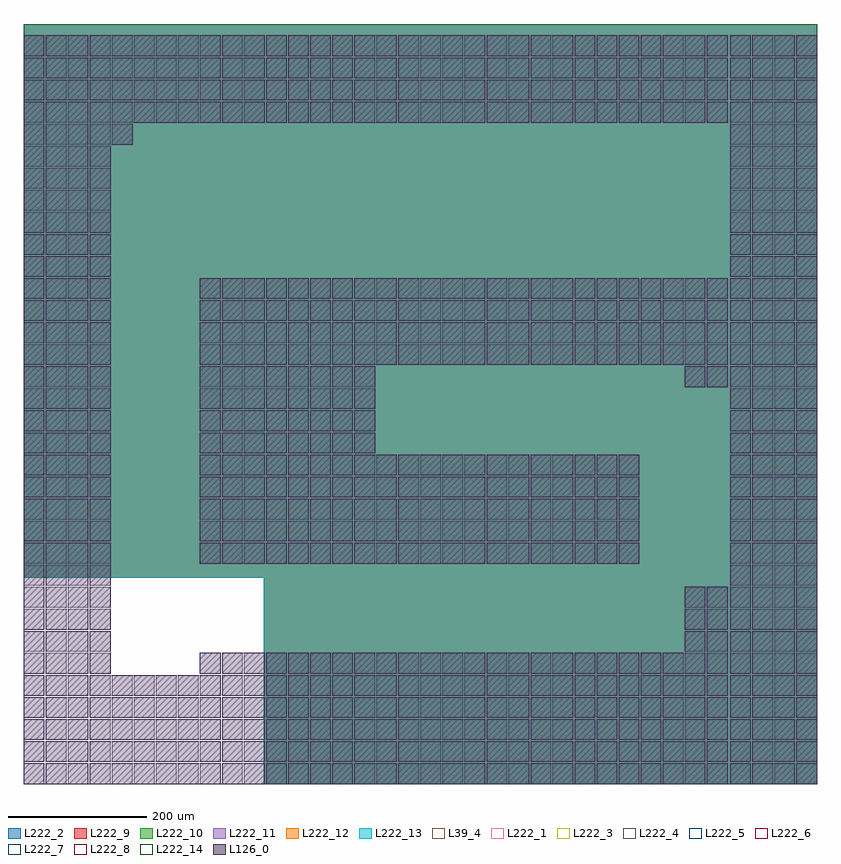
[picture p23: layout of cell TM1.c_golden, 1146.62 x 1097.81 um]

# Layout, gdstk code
import gdstk
lib = gdstk.Library(unit=1e-6, precision=1e-09)
def R(c, l, rs):  # rectangles x0, y0, x1, y1
    for r in rs: c.add(gdstk.rectangle(r[:2], r[2:], *l))
def A(c, l, x, y, w, h, nx, ny, dx, dy):  # array of equal rectangles
    R(c, l, [(x+i*dx, y+j*dy, x+i*dx+w, y+j*dy+h) for i in range(nx) for j in range(ny)])
L39_4 = (39, 4)
L126_0 = (126, 0)
L222_1 = (222, 1)
L222_2 = (222, 2)
L222_3 = (222, 3)
L222_4 = (222, 4)
L222_5 = (222, 5)
L222_6 = (222, 6)
L222_7 = (222, 7)
L222_8 = (222, 8)
L222_9 = (222, 9)
L222_10 = (222, 10)
L222_11 = (222, 11)
L222_12 = (222, 12)
L222_13 = (222, 13)
L222_14 = (222, 14)

tm1_c_golden = lib.new_cell('TM1.c_golden')
R(tm1_c_golden, L39_4, [(0,0,1146.62,1097.81)])
A(tm1_c_golden, L126_0, 0, 445.69, 30, 30, 1, 4, 0, 32)
A(tm1_c_golden, L126_0, 32, 445.69, 30, 30, 1, 4, 0, 32)
A(tm1_c_golden, L126_0, 63.66, 445.69, 30, 30, 1, 4, 0, 32)
A(tm1_c_golden, L126_0, 95.66, 445.69, 30, 30, 1, 4, 0, 32)
A(tm1_c_golden, L126_0, 254.64, 445.69, 30, 30, 1, 4, 0, 32)
A(tm1_c_golden, L126_0, 286.64, 445.69, 30, 30, 1, 4, 0, 32)
A(tm1_c_golden, L126_0, 318.3, 445.69, 30, 30, 1, 4, 0, 32)
A(tm1_c_golden, L126_0, 350.3, 445.69, 30, 30, 1, 4, 0, 32)
A(tm1_c_golden, L126_0, 381.97, 445.69, 30, 30, 1, 4, 0, 32)
A(tm1_c_golden, L126_0, 413.97, 445.69, 30, 30, 1, 4, 0, 32)
A(tm1_c_golden, L126_0, 445.63, 445.69, 30, 30, 1, 4, 0, 32)
A(tm1_c_golden, L126_0, 477.63, 445.69, 30, 30, 1, 4, 0, 32)
A(tm1_c_golden, L126_0, 1020.59, 445.69, 30, 30, 1, 4, 0, 32)
A(tm1_c_golden, L126_0, 1052.59, 445.69, 30, 30, 1, 4, 0, 32)
A(tm1_c_golden, L126_0, 1084.26, 445.69, 30, 30, 1, 4, 0, 32)
A(tm1_c_golden, L126_0, 1116.26, 445.69, 30, 30, 1, 4, 0, 32)
A(tm1_c_golden, L126_0, 0, 955.38, 30, 30, 1, 4, 0, 32)
A(tm1_c_golden, L126_0, 32, 955.38, 30, 30, 1, 4, 0, 32)
A(tm1_c_golden, L126_0, 63.66, 955.38, 30, 30, 1, 4, 0, 32)
A(tm1_c_golden, L126_0, 95.66, 955.38, 30, 30, 1, 4, 0, 32)
A(tm1_c_golden, L126_0, 127.33, 955.38, 30, 30, 1, 4, 0, 32)
A(tm1_c_golden, L126_0, 159.33, 955.38, 30, 30, 1, 4, 0, 32)
A(tm1_c_golden, L126_0, 190.99, 955.38, 30, 30, 1, 4, 0, 32)
A(tm1_c_golden, L126_0, 222.99, 955.38, 30, 30, 1, 4, 0, 32)
A(tm1_c_golden, L126_0, 254.64, 955.38, 30, 30, 1, 4, 0, 32)
A(tm1_c_golden, L126_0, 286.64, 955.38, 30, 30, 1, 4, 0, 32)
A(tm1_c_golden, L126_0, 318.3, 955.38, 30, 30, 1, 4, 0, 32)
A(tm1_c_golden, L126_0, 350.3, 955.38, 30, 30, 1, 4, 0, 32)
A(tm1_c_golden, L126_0, 381.97, 955.38, 30, 30, 1, 4, 0, 32)
A(tm1_c_golden, L126_0, 413.97, 955.38, 30, 30, 1, 4, 0, 32)
A(tm1_c_golden, L126_0, 445.63, 955.38, 30, 30, 1, 4, 0, 32)
A(tm1_c_golden, L126_0, 477.63, 955.38, 30, 30, 1, 4, 0, 32)
A(tm1_c_golden, L126_0, 509.34, 955.38, 30, 30, 1, 4, 0, 32)
A(tm1_c_golden, L126_0, 541.34, 955.38, 30, 30, 1, 4, 0, 32)
A(tm1_c_golden, L126_0, 573, 955.38, 30, 30, 1, 4, 0, 32)
A(tm1_c_golden, L126_0, 605, 955.38, 30, 30, 1, 4, 0, 32)
A(tm1_c_golden, L126_0, 636.67, 955.38, 30, 30, 1, 4, 0, 32)
A(tm1_c_golden, L126_0, 668.67, 955.38, 30, 30, 1, 4, 0, 32)
A(tm1_c_golden, L126_0, 700.33, 955.38, 30, 30, 1, 4, 0, 32)
A(tm1_c_golden, L126_0, 732.33, 955.38, 30, 30, 1, 4, 0, 32)
A(tm1_c_golden, L126_0, 763.98, 955.38, 30, 30, 1, 4, 0, 32)
A(tm1_c_golden, L126_0, 795.98, 955.38, 30, 30, 1, 4, 0, 32)
A(tm1_c_golden, L126_0, 827.64, 955.38, 30, 30, 1, 4, 0, 32)
A(tm1_c_golden, L126_0, 859.64, 955.38, 30, 30, 1, 4, 0, 32)
A(tm1_c_golden, L126_0, 891.31, 955.38, 30, 30, 1, 4, 0, 32)
A(tm1_c_golden, L126_0, 923.31, 955.38, 30, 30, 1, 4, 0, 32)
A(tm1_c_golden, L126_0, 954.97, 955.38, 30, 30, 1, 4, 0, 32)
A(tm1_c_golden, L126_0, 986.97, 955.38, 30, 30, 1, 4, 0, 32)
A(tm1_c_golden, L126_0, 1020.59, 955.38, 30, 30, 1, 4, 0, 32)
A(tm1_c_golden, L126_0, 1052.59, 955.38, 30, 30, 1, 4, 0, 32)
A(tm1_c_golden, L126_0, 1084.26, 955.38, 30, 30, 1, 4, 0, 32)
A(tm1_c_golden, L126_0, 1116.26, 955.38, 30, 30, 1, 4, 0, 32)
R(tm1_c_golden, L126_0, [(0,0,30,30), (32,0,62,30), (63.66,0,93.66,30), (95.66,0,125.66,30), (127.33,0,157.33,30), (159.33,0,189.33,30), (190.99,0,220.99,30), (222.99,0,252.99,30), (254.64,0,284.64,30), (286.64,0,316.64,30), (318.3,0,348.3,30), (350.3,0,380.3,30), (381.97,0,411.97,30), (413.97,0,443.97,30), (445.63,0,475.63,30), (477.63,0,507.63,30), (509.34,0,539.34,30), (541.34,0,571.34,30), (573,0,603,30), (605,0,635,30), (636.67,0,666.67,30), (668.67,0,698.67,30), (700.33,0,730.33,30), (732.33,0,762.33,30), (763.98,0,793.98,30), (795.98,0,825.98,30), (827.64,0,857.64,30), (859.64,0,889.64,30), (891.31,0,921.31,30), (923.31,0,953.31,30), (954.97,0,984.97,30), (986.97,0,1016.97,30), (1020.59,0,1050.59,30), (1052.59,0,1082.59,30), (1084.26,0,1114.26,30), (1116.26,0,1146.26,30), (0,32,30,62), (32,32,62,62), (63.66,32,93.66,62), (95.66,32,125.66,62), (127.33,32,157.33,62), (159.33,32,189.33,62), (190.99,32,220.99,62), (222.99,32,252.99,62), (254.64,32,284.64,62), (286.64,32,316.64,62), (318.3,32,348.3,62), (350.3,32,380.3,62), (381.97,32,411.97,62), (413.97,32,443.97,62), (445.63,32,475.63,62), (477.63,32,507.63,62), (509.34,32,539.34,62), (541.34,32,571.34,62), (573,32,603,62), (605,32,635,62), (636.67,32,666.67,62), (668.67,32,698.67,62), (700.33,32,730.33,62), (732.33,32,762.33,62), (763.98,32,793.98,62), (795.98,32,825.98,62), (827.64,32,857.64,62), (859.64,32,889.64,62), (891.31,32,921.31,62), (923.31,32,953.31,62), (954.97,32,984.97,62), (986.97,32,1016.97,62), (1020.59,32,1050.59,62), (1052.59,32,1082.59,62), (1084.26,32,1114.26,62), (1116.26,32,1146.26,62), (0,63.67,30,93.67), (32,63.67,62,93.67), (63.66,63.67,93.66,93.67), (95.66,63.67,125.66,93.67), (127.33,63.67,157.33,93.67), (159.33,63.67,189.33,93.67), (190.99,63.67,220.99,93.67), (222.99,63.67,252.99,93.67), (254.64,63.67,284.64,93.67), (286.64,63.67,316.64,93.67), (318.3,63.67,348.3,93.67), (350.3,63.67,380.3,93.67), (381.97,63.67,411.97,93.67), (413.97,63.67,443.97,93.67), (445.63,63.67,475.63,93.67), (477.63,63.67,507.63,93.67), (509.34,63.67,539.34,93.67), (541.34,63.67,571.34,93.67), (573,63.67,603,93.67), (605,63.67,635,93.67), (636.67,63.67,666.67,93.67), (668.67,63.67,698.67,93.67), (700.33,63.67,730.33,93.67), (732.33,63.67,762.33,93.67), (763.98,63.67,793.98,93.67), (795.98,63.67,825.98,93.67), (827.64,63.67,857.64,93.67), (859.64,63.67,889.64,93.67), (891.31,63.67,921.31,93.67), (923.31,63.67,953.31,93.67), (954.97,63.67,984.97,93.67), (986.97,63.67,1016.97,93.67), (1020.59,63.67,1050.59,93.67), (1052.59,63.67,1082.59,93.67), (1084.26,63.67,1114.26,93.67), (1116.26,63.67,1146.26,93.67), (0,95.67,30,125.67), (32,95.67,62,125.67), (63.66,95.67,93.66,125.67), (95.66,95.67,125.66,125.67), (127.33,95.67,157.33,125.67), (159.33,95.67,189.33,125.67), (190.99,95.67,220.99,125.67), (222.99,95.67,252.99,125.67), (254.64,95.67,284.64,125.67), (286.64,95.67,316.64,125.67), (318.3,95.67,348.3,125.67), (350.3,95.67,380.3,125.67), (381.97,95.67,411.97,125.67), (413.97,95.67,443.97,125.67), (445.63,95.67,475.63,125.67), (477.63,95.67,507.63,125.67), (509.34,95.67,539.34,125.67), (541.34,95.67,571.34,125.67), (573,95.67,603,125.67), (605,95.67,635,125.67), (636.67,95.67,666.67,125.67), (668.67,95.67,698.67,125.67), (700.33,95.67,730.33,125.67), (732.33,95.67,762.33,125.67), (763.98,95.67,793.98,125.67), (795.98,95.67,825.98,125.67), (827.64,95.67,857.64,125.67), (859.64,95.67,889.64,125.67), (891.31,95.67,921.31,125.67), (923.31,95.67,953.31,125.67), (954.97,95.67,984.97,125.67), (986.97,95.67,1016.97,125.67), (1020.59,95.67,1050.59,125.67), (1052.59,95.67,1082.59,125.67), (1084.26,95.67,1114.26,125.67), (1116.26,95.67,1146.26,125.67), (0,127.32,30,157.32), (32,127.32,62,157.32), (63.66,127.32,93.66,157.32), (95.66,127.32,125.66,157.32), (127.33,127.32,157.33,157.32), (159.33,127.32,189.33,157.32), (190.99,127.32,220.99,157.32), (222.99,127.32,252.99,157.32), (254.64,127.32,284.64,157.32), (286.64,127.32,316.64,157.32), (318.3,127.32,348.3,157.32), (350.3,127.32,380.3,157.32), (381.97,127.32,411.97,157.32), (413.97,127.32,443.97,157.32), (445.63,127.32,475.63,157.32), (477.63,127.32,507.63,157.32), (509.34,127.32,539.34,157.32), (541.34,127.32,571.34,157.32), (573,127.32,603,157.32), (605,127.32,635,157.32), (636.67,127.32,666.67,157.32), (668.67,127.32,698.67,157.32), (700.33,127.32,730.33,157.32), (732.33,127.32,762.33,157.32), (763.98,127.32,793.98,157.32), (795.98,127.32,825.98,157.32), (827.64,127.32,857.64,157.32), (859.64,127.32,889.64,157.32), (891.31,127.32,921.31,157.32), (923.31,127.32,953.31,157.32), (954.97,127.32,984.97,157.32), (986.97,127.32,1016.97,157.32), (1020.59,127.32,1050.59,157.32), (1052.59,127.32,1082.59,157.32), (1084.26,127.32,1114.26,157.32), (1116.26,127.32,1146.26,157.32), (0,159.32,30,189.32), (32,159.32,62,189.32), (63.66,159.32,93.66,189.32), (95.66,159.32,125.66,189.32), (254.64,159.32,284.64,189.32), (286.64,159.32,316.64,189.32), (318.3,159.32,348.3,189.32), (350.3,159.32,380.3,189.32), (381.97,159.32,411.97,189.32), (413.97,159.32,443.97,189.32), (445.63,159.32,475.63,189.32), (477.63,159.32,507.63,189.32), (509.34,159.32,539.34,189.32), (541.34,159.32,571.34,189.32), (573,159.32,603,189.32), (605,159.32,635,189.32), (636.67,159.32,666.67,189.32), (668.67,159.32,698.67,189.32), (700.33,159.32,730.33,189.32), (732.33,159.32,762.33,189.32), (763.98,159.32,793.98,189.32), (795.98,159.32,825.98,189.32), (827.64,159.32,857.64,189.32), (859.64,159.32,889.64,189.32), (891.31,159.32,921.31,189.32), (923.31,159.32,953.31,189.32), (954.97,159.32,984.97,189.32), (986.97,159.32,1016.97,189.32), (1020.59,159.32,1050.59,189.32), (1052.59,159.32,1082.59,189.32), (1084.26,159.32,1114.26,189.32), (1116.26,159.32,1146.26,189.32), (0,190.99,30,220.99), (32,190.99,62,220.99), (63.66,190.99,93.66,220.99), (95.66,190.99,125.66,220.99), (954.97,190.99,984.97,220.99), (986.97,190.99,1016.97,220.99), (1020.59,190.99,1050.59,220.99), (1052.59,190.99,1082.59,220.99), (1084.26,190.99,1114.26,220.99), (1116.26,190.99,1146.26,220.99), (0,222.99,30,252.99), (32,222.99,62,252.99), (63.66,222.99,93.66,252.99), (95.66,222.99,125.66,252.99), (954.97,222.99,984.97,252.99), (986.97,222.99,1016.97,252.99), (1020.59,222.99,1050.59,252.99), (1052.59,222.99,1082.59,252.99), (1084.26,222.99,1114.26,252.99), (1116.26,222.99,1146.26,252.99), (0,254.7,30,284.7), (32,254.7,62,284.7), (63.66,254.7,93.66,284.7), (95.66,254.7,125.66,284.7), (954.97,254.7,984.97,284.7), (986.97,254.7,1016.97,284.7), (1020.59,254.7,1050.59,284.7), (1052.59,254.7,1082.59,284.7), (1084.26,254.7,1114.26,284.7), (1116.26,254.7,1146.26,284.7), (0,286.7,30,316.7), (32,286.7,62,316.7), (63.66,286.7,93.66,316.7), (95.66,286.7,125.66,316.7), (1020.59,286.7,1050.59,316.7), (1052.59,286.7,1082.59,316.7), (1084.26,286.7,1114.26,316.7), (1116.26,286.7,1146.26,316.7), (0,318.37,30,348.37), (32,318.37,62,348.37), (63.66,318.37,93.66,348.37), (95.66,318.37,125.66,348.37), (254.64,318.37,284.64,348.37), (286.64,318.37,316.64,348.37), (318.3,318.37,348.3,348.37), (350.3,318.37,380.3,348.37), (381.97,318.37,411.97,348.37), (413.97,318.37,443.97,348.37), (445.63,318.37,475.63,348.37), (477.63,318.37,507.63,348.37), (509.34,318.37,539.34,348.37), (541.34,318.37,571.34,348.37), (573,318.37,603,348.37), (605,318.37,635,348.37), (636.67,318.37,666.67,348.37), (668.67,318.37,698.67,348.37), (700.33,318.37,730.33,348.37), (732.33,318.37,762.33,348.37), (763.98,318.37,793.98,348.37), (795.98,318.37,825.98,348.37), (827.64,318.37,857.64,348.37), (859.64,318.37,889.64,348.37), (1020.59,318.37,1050.59,348.37), (1052.59,318.37,1082.59,348.37), (1084.26,318.37,1114.26,348.37), (1116.26,318.37,1146.26,348.37), (0,350.37,30,380.37), (32,350.37,62,380.37), (63.66,350.37,93.66,380.37), (95.66,350.37,125.66,380.37), (254.64,350.37,284.64,380.37), (286.64,350.37,316.64,380.37), (318.3,350.37,348.3,380.37), (350.3,350.37,380.3,380.37), (381.97,350.37,411.97,380.37), (413.97,350.37,443.97,380.37), (445.63,350.37,475.63,380.37), (477.63,350.37,507.63,380.37), (509.34,350.37,539.34,380.37), (541.34,350.37,571.34,380.37), (573,350.37,603,380.37), (605,350.37,635,380.37), (636.67,350.37,666.67,380.37), (668.67,350.37,698.67,380.37), (700.33,350.37,730.33,380.37), (732.33,350.37,762.33,380.37), (763.98,350.37,793.98,380.37), (795.98,350.37,825.98,380.37), (827.64,350.37,857.64,380.37), (859.64,350.37,889.64,380.37), (1020.59,350.37,1050.59,380.37), (1052.59,350.37,1082.59,380.37), (1084.26,350.37,1114.26,380.37), (1116.26,350.37,1146.26,380.37), (0,382.02,30,412.02), (32,382.02,62,412.02), (63.66,382.02,93.66,412.02), (95.66,382.02,125.66,412.02), (254.64,382.02,284.64,412.02), (286.64,382.02,316.64,412.02), (318.3,382.02,348.3,412.02), (350.3,382.02,380.3,412.02), (381.97,382.02,411.97,412.02), (413.97,382.02,443.97,412.02), (445.63,382.02,475.63,412.02), (477.63,382.02,507.63,412.02), (509.34,382.02,539.34,412.02), (541.34,382.02,571.34,412.02), (573,382.02,603,412.02), (605,382.02,635,412.02), (636.67,382.02,666.67,412.02), (668.67,382.02,698.67,412.02), (700.33,382.02,730.33,412.02), (732.33,382.02,762.33,412.02), (763.98,382.02,793.98,412.02), (795.98,382.02,825.98,412.02), (827.64,382.02,857.64,412.02), (859.64,382.02,889.64,412.02), (1020.59,382.02,1050.59,412.02), (1052.59,382.02,1082.59,412.02), (1084.26,382.02,1114.26,412.02), (1116.26,382.02,1146.26,412.02), (0,414.02,30,444.02), (32,414.02,62,444.02), (63.66,414.02,93.66,444.02), (95.66,414.02,125.66,444.02), (254.64,414.02,284.64,444.02), (286.64,414.02,316.64,444.02), (318.3,414.02,348.3,444.02), (350.3,414.02,380.3,444.02), (381.97,414.02,411.97,444.02), (413.97,414.02,443.97,444.02), (445.63,414.02,475.63,444.02), (477.63,414.02,507.63,444.02), (509.34,414.02,539.34,444.02), (541.34,414.02,571.34,444.02), (573,414.02,603,444.02), (605,414.02,635,444.02), (636.67,414.02,666.67,444.02), (668.67,414.02,698.67,444.02), (700.33,414.02,730.33,444.02), (732.33,414.02,762.33,444.02), (763.98,414.02,793.98,444.02), (795.98,414.02,825.98,444.02), (827.64,414.02,857.64,444.02), (859.64,414.02,889.64,444.02), (1020.59,414.02,1050.59,444.02), (1052.59,414.02,1082.59,444.02), (1084.26,414.02,1114.26,444.02), (1116.26,414.02,1146.26,444.02), (509.34,445.69,539.34,475.69), (541.34,445.69,571.34,475.69), (573,445.69,603,475.69), (605,445.69,635,475.69), (636.67,445.69,666.67,475.69), (668.67,445.69,698.67,475.69), (700.33,445.69,730.33,475.69), (732.33,445.69,762.33,475.69), (763.98,445.69,793.98,475.69), (795.98,445.69,825.98,475.69), (827.64,445.69,857.64,475.69), (859.64,445.69,889.64,475.69), (0,573.36,30,603.36), (32,573.36,62,603.36), (63.66,573.36,93.66,603.36), (95.66,573.36,125.66,603.36), (254.64,573.36,284.64,603.36), (286.64,573.36,316.64,603.36), (318.3,573.36,348.3,603.36), (350.3,573.36,380.3,603.36), (381.97,573.36,411.97,603.36), (413.97,573.36,443.97,603.36), (445.63,573.36,475.63,603.36), (477.63,573.36,507.63,603.36), (954.97,573.36,984.97,603.36), (986.97,573.36,1016.97,603.36), (1020.59,573.36,1050.59,603.36), (1052.59,573.36,1082.59,603.36), (1084.26,573.36,1114.26,603.36), (1116.26,573.36,1146.26,603.36), (0,605.36,30,635.36), (32,605.36,62,635.36), (63.66,605.36,93.66,635.36), (95.66,605.36,125.66,635.36), (254.64,605.36,284.64,635.36), (286.64,605.36,316.64,635.36), (318.3,605.36,348.3,635.36), (350.3,605.36,380.3,635.36), (381.97,605.36,411.97,635.36), (413.97,605.36,443.97,635.36), (445.63,605.36,475.63,635.36), (477.63,605.36,507.63,635.36), (509.34,605.36,539.34,635.36), (541.34,605.36,571.34,635.36), (573,605.36,603,635.36), (605,605.36,635,635.36), (636.67,605.36,666.67,635.36), (668.67,605.36,698.67,635.36), (700.33,605.36,730.33,635.36), (732.33,605.36,762.33,635.36), (763.98,605.36,793.98,635.36), (795.98,605.36,825.98,635.36), (827.64,605.36,857.64,635.36), (859.64,605.36,889.64,635.36), (891.31,605.36,921.31,635.36), (923.31,605.36,953.31,635.36), (954.97,605.36,984.97,635.36), (986.97,605.36,1016.97,635.36), (1020.59,605.36,1050.59,635.36), (1052.59,605.36,1082.59,635.36), (1084.26,605.36,1114.26,635.36), (1116.26,605.36,1146.26,635.36), (0,637.01,30,667.01), (32,637.01,62,667.01), (63.66,637.01,93.66,667.01), (95.66,637.01,125.66,667.01), (254.64,637.01,284.64,667.01), (286.64,637.01,316.64,667.01), (318.3,637.01,348.3,667.01), (350.3,637.01,380.3,667.01), (381.97,637.01,411.97,667.01), (413.97,637.01,443.97,667.01), (445.63,637.01,475.63,667.01), (477.63,637.01,507.63,667.01), (509.34,637.01,539.34,667.01), (541.34,637.01,571.34,667.01), (573,637.01,603,667.01), (605,637.01,635,667.01), (636.67,637.01,666.67,667.01), (668.67,637.01,698.67,667.01), (700.33,637.01,730.33,667.01), (732.33,637.01,762.33,667.01), (763.98,637.01,793.98,667.01), (795.98,637.01,825.98,667.01), (827.64,637.01,857.64,667.01), (859.64,637.01,889.64,667.01), (891.31,637.01,921.31,667.01), (923.31,637.01,953.31,667.01), (954.97,637.01,984.97,667.01), (986.97,637.01,1016.97,667.01), (1020.59,637.01,1050.59,667.01), (1052.59,637.01,1082.59,667.01), (1084.26,637.01,1114.26,667.01), (1116.26,637.01,1146.26,667.01), (0,669.01,30,699.01), (32,669.01,62,699.01), (63.66,669.01,93.66,699.01), (95.66,669.01,125.66,699.01), (254.64,669.01,284.64,699.01), (286.64,669.01,316.64,699.01), (318.3,669.01,348.3,699.01), (350.3,669.01,380.3,699.01), (381.97,669.01,411.97,699.01), (413.97,669.01,443.97,699.01), (445.63,669.01,475.63,699.01), (477.63,669.01,507.63,699.01), (509.34,669.01,539.34,699.01), (541.34,669.01,571.34,699.01), (573,669.01,603,699.01), (605,669.01,635,699.01), (636.67,669.01,666.67,699.01), (668.67,669.01,698.67,699.01), (700.33,669.01,730.33,699.01), (732.33,669.01,762.33,699.01), (763.98,669.01,793.98,699.01), (795.98,669.01,825.98,699.01), (827.64,669.01,857.64,699.01), (859.64,669.01,889.64,699.01), (891.31,669.01,921.31,699.01), (923.31,669.01,953.31,699.01), (954.97,669.01,984.97,699.01), (986.97,669.01,1016.97,699.01), (1020.59,669.01,1050.59,699.01), (1052.59,669.01,1082.59,699.01), (1084.26,669.01,1114.26,699.01), (1116.26,669.01,1146.26,699.01), (0,700.68,30,730.68), (32,700.68,62,730.68), (63.66,700.68,93.66,730.68), (95.66,700.68,125.66,730.68), (254.64,700.68,284.64,730.68), (286.64,700.68,316.64,730.68), (318.3,700.68,348.3,730.68), (350.3,700.68,380.3,730.68), (381.97,700.68,411.97,730.68), (413.97,700.68,443.97,730.68), (445.63,700.68,475.63,730.68), (477.63,700.68,507.63,730.68), (509.34,700.68,539.34,730.68), (541.34,700.68,571.34,730.68), (573,700.68,603,730.68), (605,700.68,635,730.68), (636.67,700.68,666.67,730.68), (668.67,700.68,698.67,730.68), (700.33,700.68,730.33,730.68), (732.33,700.68,762.33,730.68), (763.98,700.68,793.98,730.68), (795.98,700.68,825.98,730.68), (827.64,700.68,857.64,730.68), (859.64,700.68,889.64,730.68), (891.31,700.68,921.31,730.68), (923.31,700.68,953.31,730.68), (954.97,700.68,984.97,730.68), (986.97,700.68,1016.97,730.68), (1020.59,700.68,1050.59,730.68), (1052.59,700.68,1082.59,730.68), (1084.26,700.68,1114.26,730.68), (1116.26,700.68,1146.26,730.68), (0,732.68,30,762.68), (32,732.68,62,762.68), (63.66,732.68,93.66,762.68), (95.66,732.68,125.66,762.68), (1020.59,732.68,1050.59,762.68), (1052.59,732.68,1082.59,762.68), (1084.26,732.68,1114.26,762.68), (1116.26,732.68,1146.26,762.68), (0,764.39,30,794.39), (32,764.39,62,794.39), (63.66,764.39,93.66,794.39), (95.66,764.39,125.66,794.39), (1020.59,764.39,1050.59,794.39), (1052.59,764.39,1082.59,794.39), (1084.26,764.39,1114.26,794.39), (1116.26,764.39,1146.26,794.39), (0,796.39,30,826.39), (32,796.39,62,826.39), (63.66,796.39,93.66,826.39), (95.66,796.39,125.66,826.39), (1020.59,796.39,1050.59,826.39), (1052.59,796.39,1082.59,826.39), (1084.26,796.39,1114.26,826.39), (1116.26,796.39,1146.26,826.39), (0,828.06,30,858.06), (32,828.06,62,858.06), (63.66,828.06,93.66,858.06), (95.66,828.06,125.66,858.06), (1020.59,828.06,1050.59,858.06), (1052.59,828.06,1082.59,858.06), (1084.26,828.06,1114.26,858.06), (1116.26,828.06,1146.26,858.06), (0,860.06,30,890.06), (32,860.06,62,890.06), (63.66,860.06,93.66,890.06), (95.66,860.06,125.66,890.06), (1020.59,860.06,1050.59,890.06), (1052.59,860.06,1082.59,890.06), (1084.26,860.06,1114.26,890.06), (1116.26,860.06,1146.26,890.06), (0,891.71,30,921.71), (32,891.71,62,921.71), (63.66,891.71,93.66,921.71), (95.66,891.71,125.66,921.71), (1020.59,891.71,1050.59,921.71), (1052.59,891.71,1082.59,921.71), (1084.26,891.71,1114.26,921.71), (1116.26,891.71,1146.26,921.71), (0,923.71,30,953.71), (32,923.71,62,953.71), (63.66,923.71,93.66,953.71), (95.66,923.71,125.66,953.71), (127.33,923.71,157.33,953.71), (1020.59,923.71,1050.59,953.71), (1052.59,923.71,1082.59,953.71), (1084.26,923.71,1114.26,953.71), (1116.26,923.71,1146.26,953.71)])
R(tm1_c_golden, L222_1, [(0,0,1146.62,1097.81)])
R(tm1_c_golden, L222_2, [(346.62,0,1146.62,800), (0,297.81,800,1097.81), (346.62,297.81,1146.62,1097.81)])
R(tm1_c_golden, L222_3, [(0,0,1146.62,1097.81)])
R(tm1_c_golden, L222_4, [(0,0,1146.62,1097.81)])
R(tm1_c_golden, L222_5, [(0,0,1146.62,1097.81)])
R(tm1_c_golden, L222_6, [(0,0,1146.62,1097.81)])
R(tm1_c_golden, L222_7, [(0,0,1146.62,1097.81)])
R(tm1_c_golden, L222_8, [(0,0,1146.62,1097.81)])
R(tm1_c_golden, L222_9, [(346.62,0,1146.62,800), (0,297.81,800,1097.81), (346.62,297.81,1146.62,1097.81)])
R(tm1_c_golden, L222_10, [(346.62,0,1146.62,800), (0,297.81,800,1097.81), (346.62,297.81,1146.62,1097.81)])
R(tm1_c_golden, L222_11, [(346.62,0,1146.62,800), (0,297.81,800,1097.81), (346.62,297.81,1146.62,1097.81)])
R(tm1_c_golden, L222_12, [(346.62,0,1146.62,800), (0,297.81,800,1097.81), (346.62,297.81,1146.62,1097.81)])
R(tm1_c_golden, L222_13, [(346.62,0,1146.62,800), (0,297.81,800,1097.81), (346.62,297.81,1146.62,1097.81)])
R(tm1_c_golden, L222_14, [(0,0,1146.62,1097.81)])

lib.write_gds('TM1.c_golden.gds')
